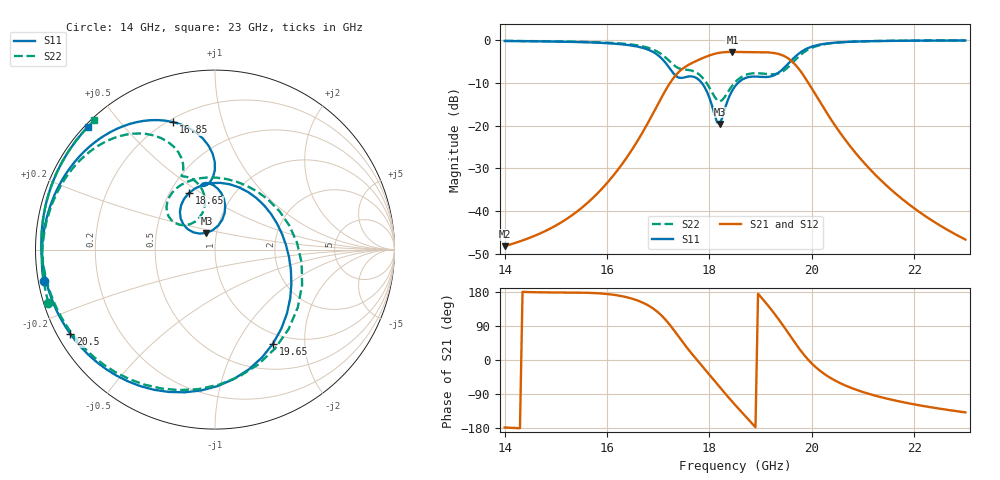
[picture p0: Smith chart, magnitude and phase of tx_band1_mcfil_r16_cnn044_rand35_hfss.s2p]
! Touchstone file exported from HFSS 3D Layout Design 2026.1.0
!  File:  D:/Work/SIM/ADS_AUTO_SIM/projects/RFSOC_RF/TX_Fillter.aedt
!  Generated:  12:52:33 AM Aug 31, 2026
!  Design:  TX_BAND1_MCFIL_R16_CNN044
!  Project:  TX_Fillter
# GHz S MA R 50.000000
! Terminal data exported
! Port[1] = Port1
! Port[2] = Port2
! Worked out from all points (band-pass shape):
!   181 points, 14 GHz to 23 GHz, reference 50 ohm
!   highest |S21| = -2.80 dB at 18.45 GHz (marker M1); lowest = -48.2 dB at 14 GHz (marker M2)
!   |S21| within 3 dB of the highest: 17.6 GHz to 19.68 GHz (2.082 GHz wide, 11.2 % of centre)
!   lowest |S11| = -19.6 dB at 18.2 GHz (marker M3), VSWR 1.23, Z = 44.7 + j8.41 ohm
!   |S11| at or under -10 dB: 17.85 GHz to 18.56 GHz (715 MHz wide, 3.93 % of centre)
!   |S22| runs from -14.4 to -0.1 dB; largest |S21 - S12| = 1.4e-14
!   S11 on the Smith chart (normalised r, x): 14 GHz: 0.01, -0.09; 16.85 GHz: 0.22, +0.70; 18.65 GHz: 0.62, +0.45; 19.65 GHz: 0.85, -1.43; 20.5 GHz: 0.04, -0.27; 23 GHz: 0.01, +0.40
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14  0.9713 -169.6  0.003903 -178.1  0.003903 -178.1  0.9741 -162.3
15.5  0.9413 159.0  0.01087 177.7  0.01087 177.7  0.949 168.8
16.25  0.8923 136.4  0.03261 169.5  0.03261 169.5  0.9091 149.0
16.85  0.748 108.2  0.122 140.4  0.122 140.4  0.7923 125.4
17  0.6594 99.1  0.1796 125.4  0.1796 125.4  0.7204 118.1
17.25  0.443 90.1  0.3269 88.9  0.3269 88.9  0.5438 110.1
17.5  0.3633 101.6  0.4721 43.4  0.4721 43.4  0.4509 114.4
17.85  0.3153 83.4  0.6067 -14.7  0.6067 -14.7  0.3703 103.7
18.2  0.1047 117.3  0.7078 -71.1  0.7078 -71.1  0.1912 125.3
18.45  0.2583 137.8  0.7242 -110.6  0.7242 -110.6  0.2939 145.9
18.5  0.2869 132.9  0.7237 -118.2  0.7237 -118.2  0.319 144.3
18.65  0.3467 114.8  0.7205 -140.5  0.7205 -140.5  0.376 135.0
19  0.3701 60.3  0.7189 167.2  0.7189 167.2  0.4063 101.6
19.3  0.3964 3.7  0.6963 116.9  0.6963 116.9  0.4001 54.0
19.45  0.4657 -23.9  0.6521 88.8  0.6521 88.8  0.4352 18.0
19.65  0.6154 -58.3  0.5343 49.6  0.5343 49.6  0.5629 -35.0
19.85  0.7608 -89.0  0.3756 13.3  0.3756 13.3  0.7206 -79.4
20  0.834 -108.0  0.2707 -9.1  0.2707 -9.1  0.808 -104.3
20.25  0.9008 -132.3  0.154 -37.3  0.154 -37.3  0.8908 -133.6
20.5  0.933 -149.8  0.0913 -57.4  0.0913 -57.4  0.9304 -153.2
21.5  0.9734 169.3  0.01893 -103.0  0.01893 -103.0  0.9755 165.0
23  0.9842 136.2  0.004665 -138.2  0.004665 -138.2  0.985 133.0
